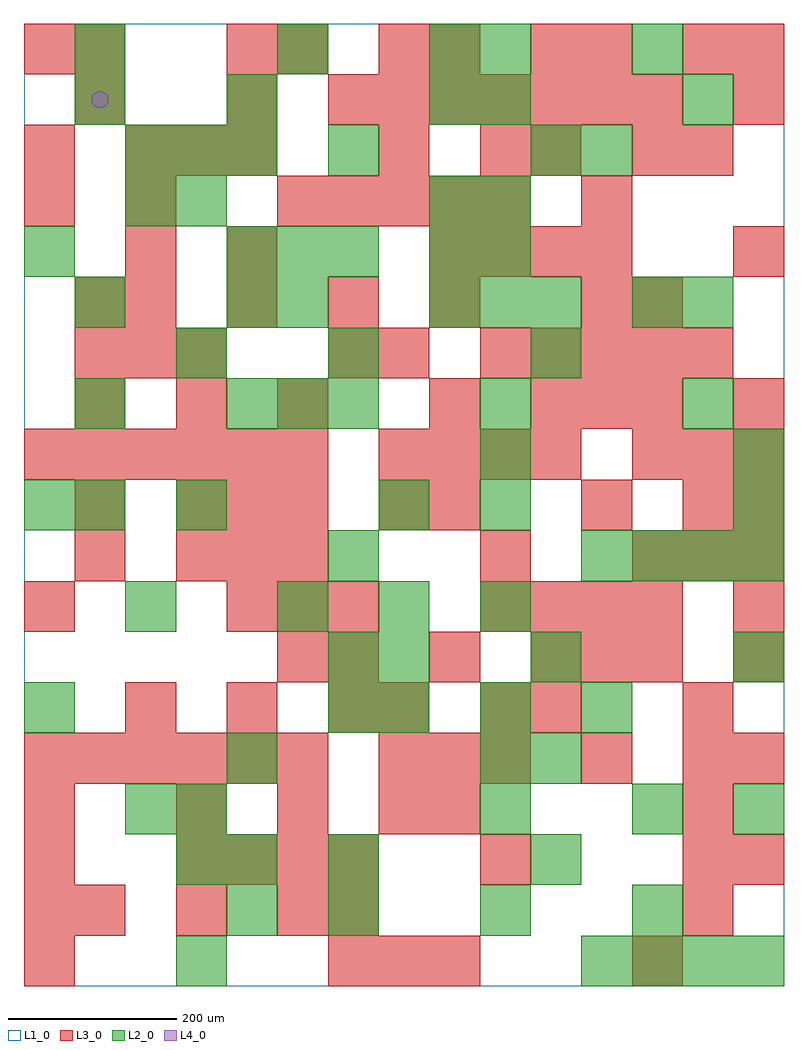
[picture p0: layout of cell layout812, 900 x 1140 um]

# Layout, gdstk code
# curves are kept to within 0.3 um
import gdstk
lib = gdstk.Library(unit=1e-6, precision=1e-09)
def R(c, l, rs):  # rectangles x0, y0, x1, y1
    for r in rs: c.add(gdstk.rectangle(r[:2], r[2:], *l))
def A(c, l, x, y, w, h, nx, ny, dx, dy):  # array of equal rectangles
    R(c, l, [(x+i*dx, y+j*dy, x+i*dx+w, y+j*dy+h) for i in range(nx) for j in range(ny)])
def P(c, l, *ps):  # polygons
    for p in ps: c.add(gdstk.Polygon(p, *l))
L1_0 = (1, 0)
L2_0 = (2, 0)
L3_0 = (3, 0)
L4_0 = (4, 0)

layout812 = lib.new_cell('layout812')
R(layout812, L1_0, [(0,0,900,1140)])
A(layout812, L2_0, 660, 0, 60, 60, 4, 2, 60, 480)
A(layout812, L2_0, 360, 60, 60, 60, 3, 1, 180, 0)
A(layout812, L2_0, 600, 120, 60, 60, 1, 3, 0, 120)
A(layout812, L2_0, 840, 180, 60, 60, 1, 3, 0, 180)
A(layout812, L2_0, 420, 300, 60, 60, 3, 1, 120, 0)
A(layout812, L2_0, 300, 420, 60, 60, 3, 1, 120, 0)
A(layout812, L2_0, 360, 480, 60, 60, 1, 3, 0, 240)
A(layout812, L2_0, 60, 540, 60, 60, 1, 3, 0, 120)
A(layout812, L2_0, 180, 540, 60, 60, 1, 3, 0, 180)
A(layout812, L2_0, 540, 540, 60, 60, 1, 3, 0, 60)
A(layout812, L2_0, 240, 660, 60, 60, 3, 2, 60, 180)
A(layout812, L2_0, 480, 780, 60, 60, 3, 1, 60, 0)
A(layout812, L2_0, 120, 960, 60, 60, 3, 1, 60, 0)
R(layout812, L2_0, [(180,0,240,60), (240,60,300,120), (180,120,240,180), (240,120,300,180), (360,120,420,180), (120,180,180,240), (180,180,240,240), (540,180,600,240), (720,180,780,240), (240,240,300,300), (540,240,600,300), (0,300,60,360), (360,300,420,360), (360,360,420,420), (420,360,480,420), (120,420,180,480), (0,540,60,600), (420,540,480,600), (840,600,900,660), (780,660,840,720), (600,720,660,780), (240,780,300,840), (300,780,360,840), (720,780,780,840), (780,780,840,840), (0,840,60,900), (480,840,540,900), (540,840,600,900), (120,900,180,960), (480,900,540,960), (540,900,600,960), (600,960,660,1020), (660,960,720,1020), (60,1020,120,1080), (240,1020,300,1080), (480,1020,540,1080), (540,1020,600,1080), (780,1020,840,1080), (60,1080,120,1140), (300,1080,360,1140), (480,1080,540,1140), (540,1080,600,1140), (720,1080,780,1140)])
A(layout812, L3_0, 0, 0, 60, 60, 1, 4, 0, 60)
A(layout812, L3_0, 360, 0, 60, 60, 3, 1, 60, 0)
A(layout812, L3_0, 60, 60, 60, 60, 3, 2, 120, 600)
A(layout812, L3_0, 780, 60, 60, 60, 1, 5, 0, 60)
A(layout812, L3_0, 180, 120, 60, 60, 4, 1, 60, 0)
A(layout812, L3_0, 540, 120, 60, 60, 1, 3, 0, 180)
A(layout812, L3_0, 840, 120, 60, 60, 1, 3, 0, 120)
A(layout812, L3_0, 180, 180, 60, 60, 3, 1, 120, 0)
A(layout812, L3_0, 0, 240, 60, 60, 6, 2, 60, 360)
A(layout812, L3_0, 420, 240, 60, 60, 3, 1, 60, 0)
A(layout812, L3_0, 120, 300, 60, 60, 3, 1, 120, 0)
A(layout812, L3_0, 360, 360, 60, 60, 3, 1, 120, 0)
A(layout812, L3_0, 240, 420, 60, 60, 3, 1, 60, 0)
A(layout812, L3_0, 540, 420, 60, 60, 4, 1, 60, 0)
A(layout812, L3_0, 840, 420, 60, 60, 1, 3, 0, 120)
A(layout812, L3_0, 180, 480, 60, 60, 3, 2, 60, 60)
A(layout812, L3_0, 720, 480, 60, 60, 3, 2, 60, 120)
A(layout812, L3_0, 60, 540, 60, 60, 1, 3, 0, 240)
A(layout812, L3_0, 420, 600, 60, 60, 4, 1, 60, 0)
A(layout812, L3_0, 600, 660, 60, 60, 3, 1, 60, 0)
A(layout812, L3_0, 60, 720, 60, 60, 3, 1, 60, 0)
A(layout812, L3_0, 540, 720, 60, 60, 5, 1, 60, 0)
A(layout812, L3_0, 120, 780, 60, 60, 4, 1, 120, 0)
A(layout812, L3_0, 480, 840, 60, 60, 4, 1, 60, 0)
A(layout812, L3_0, 300, 900, 60, 60, 5, 1, 60, 0)
A(layout812, L3_0, 120, 960, 60, 60, 3, 1, 60, 0)
A(layout812, L3_0, 360, 1020, 60, 60, 7, 1, 60, 0)
R(layout812, L3_0, [(720,0,780,60), (360,60,420,120), (480,180,540,240), (660,240,720,300), (420,300,480,360), (600,300,660,360), (300,360,360,420), (660,360,720,420), (720,360,780,420), (0,420,60,480), (60,480,120,540), (420,540,480,600), (480,540,540,600), (660,540,720,600), (780,540,840,600), (480,660,540,720), (360,720,420,780), (420,720,480,780), (660,780,720,840), (720,780,780,840), (120,840,180,900), (240,840,300,900), (840,840,900,900), (0,900,60,960), (120,900,180,960), (660,900,720,960), (0,960,60,1020), (420,960,480,1020), (540,960,600,1020), (600,960,660,1020), (720,960,780,1020), (780,960,840,1020), (240,1020,300,1080), (840,1020,900,1080), (0,1080,60,1140), (60,1080,120,1140), (240,1080,300,1140), (300,1080,360,1140), (420,1080,480,1140), (480,1080,540,1140), (600,1080,660,1140), (660,1080,720,1140), (780,1080,840,1140), (840,1080,900,1140)])
P(layout812, L4_0, [(100,1050),(99.239,1053.827),(97.071,1057.071),(93.827,1059.239),(90,1060),(86.173,1059.239),(82.929,1057.071),(80.761,1053.827),(80,1050),(80.761,1046.173),(82.929,1042.929),(86.173,1040.761),(90,1040),(93.827,1040.761),(97.071,1042.929),(99.239,1046.173)])

lib.write_gds('layout812.gds')
